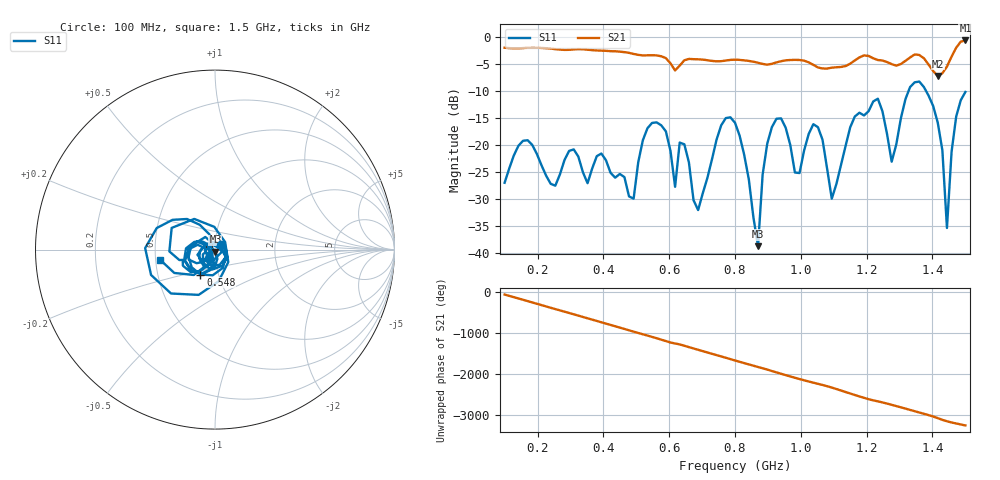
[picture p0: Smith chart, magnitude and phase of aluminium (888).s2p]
! NanoVNA-App
! Date: 2025-09-25 15:02:12
! Start: 100MHz Stop: 1,5GHz Points: 101
! S-Parameter data: F S11 S21 S12 S22
# Hz S RI R 50
!  Frequency  S11_Real  S11_Imag  S21_Real  S21_Imag  S12_Real  S12_Imag  S22_Real  S22_Imag
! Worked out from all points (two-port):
!   101 points, 100 MHz to 1.5 GHz, reference 50 ohm
!   highest |S21| = -0.57 dB at 1.5 GHz (marker M1); lowest = -7.2 dB at 1.416 GHz (marker M2)
!   |S21| within 3 dB of the highest: start of sweep to 578.6 MHz; 1.458 GHz to end of sweep (the widest 2 of 4)
!   lowest |S11| = -38.7 dB at 870 MHz (marker M3), VSWR 1.02, Z = 50.2 - j1.14 ohm
!   |S11| at or under -10 dB: start of sweep to 1.327 GHz; 1.381 GHz to end of sweep
!   S12 and S22 are empty: the file has one direction only
!   S11 on the Smith chart (normalised r, x): 100 MHz: 1.07, +0.06; 548 MHz: 0.82, -0.23; 1.5 GHz: 0.53, -0.07
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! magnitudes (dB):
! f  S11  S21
! 100 MHz  -27.0  -1.9
! 156 MHz  -19.2  -2.0
! 338 MHz  -25.0  -2.2
! 492 MHz  -29.9  -3.1
! 548 MHz  -15.9  -3.3
! 576 MHz  -16.3  -3.5
! 618 MHz  -27.7  -6.1
! 646 MHz  -19.8  -4.2
! 688 MHz  -32.0  -4.1
! 800 MHz  -15.8  -4.1
! 870 MHz  -38.7  -4.7
! 912 MHz  -16.7  -4.9
! 996 MHz  -25.2  -4.2
! 1.038 GHz  -16.1  -5.1
! 1.094 GHz  -29.9  -5.6
! 1.22 GHz  -11.9  -3.9
! 1.276 GHz  -23.1  -5.0
! 1.346 GHz  -8.3  -3.2
! 1.416 GHz  -15.8  -7.2
! 1.444 GHz  -35.3  -5.4
! 1.472 GHz  -14.7  -1.9
! 1.5 GHz  -10.1  -0.6
